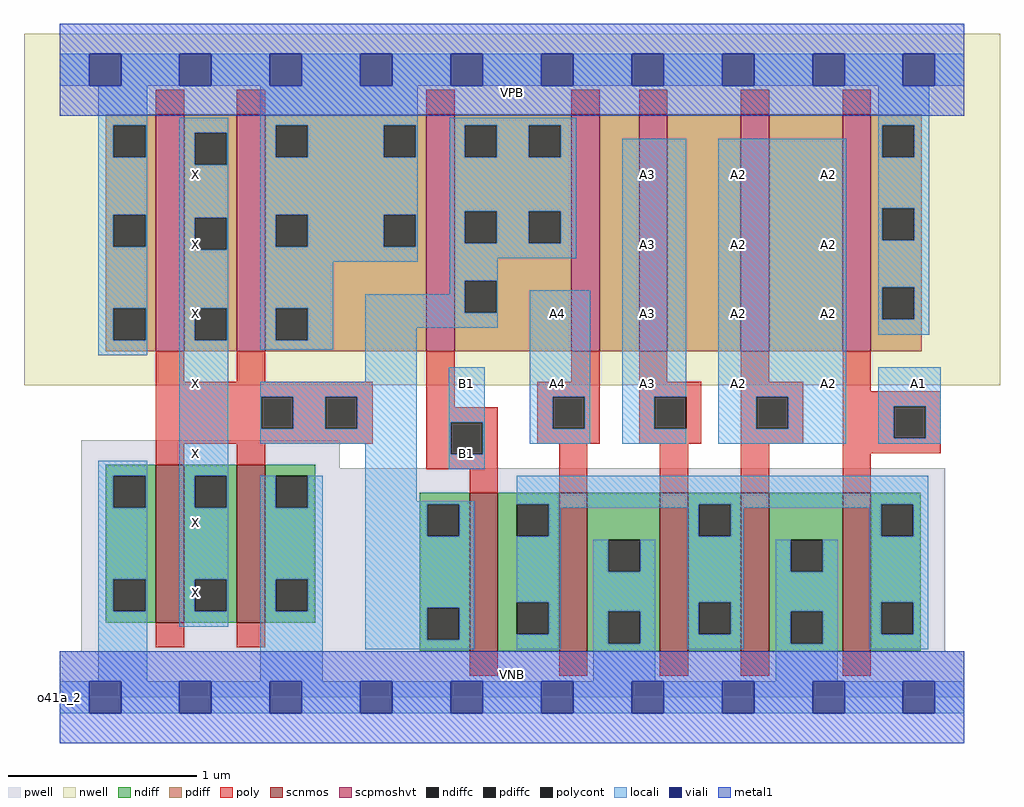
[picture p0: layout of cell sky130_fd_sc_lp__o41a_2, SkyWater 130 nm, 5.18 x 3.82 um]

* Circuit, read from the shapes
.subckt sky130_fd_sc_lp__o41a_2 A1 A2 A3 A4 B1 VGND VNB VPB VPWR X
XM1 X n1 VGND VNB sky130_fd_pr__nfet_01v8 w=0.84 l=0.15 m=2
XM2 n2 B1 n1 VNB sky130_fd_pr__nfet_01v8 w=0.84 l=0.15
XM3 VGND A4 n2 VNB sky130_fd_pr__nfet_01v8 w=0.84 l=0.15
XM4 n2 A3 VGND VNB sky130_fd_pr__nfet_01v8 w=0.84 l=0.15
XM5 VGND A2 n2 VNB sky130_fd_pr__nfet_01v8 w=0.84 l=0.15
XM6 n2 A1 VGND VNB sky130_fd_pr__nfet_01v8 w=0.84 l=0.15
XM7 X n1 VPWR VPB sky130_fd_pr__pfet_01v8_hvt w=1.26 l=0.15 m=2
XM8 n1 B1 VPWR VPB sky130_fd_pr__pfet_01v8_hvt w=1.26 l=0.15
XM9 n3 A4 n1 VPB sky130_fd_pr__pfet_01v8_hvt w=1.26 l=0.15
XM10 n4 A3 n3 VPB sky130_fd_pr__pfet_01v8_hvt w=1.26 l=0.15
XM11 n5 A2 n4 VPB sky130_fd_pr__pfet_01v8_hvt w=1.26 l=0.15
XM12 VPWR A1 n5 VPB sky130_fd_pr__pfet_01v8_hvt w=1.26 l=0.15
.ends

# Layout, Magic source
magic
tech sky130A
magscale 1 2
<< nwell >>
rect -38 331 998 704
<< pwell >>
rect 23 243 297 273
rect 23 49 940 243
rect 0 0 960 49
<< scnmos >>
rect 102 79 132 247
rect 188 79 218 247
rect 435 49 465 217
rect 530 49 560 217
rect 637 49 667 217
rect 723 49 753 217
rect 831 49 861 217
<< scpmoshvt >>
rect 102 367 132 619
rect 188 367 218 619
rect 389 367 419 619
rect 543 367 573 619
rect 615 367 645 619
rect 723 367 753 619
rect 831 367 861 619
<< ndiff >>
rect 49 235 102 247
rect 49 201 57 235
rect 91 201 102 235
rect 49 125 102 201
rect 49 91 57 125
rect 91 91 102 125
rect 49 79 102 91
rect 132 235 188 247
rect 132 201 143 235
rect 177 201 188 235
rect 132 125 188 201
rect 132 91 143 125
rect 177 91 188 125
rect 132 79 188 91
rect 218 235 271 247
rect 218 201 229 235
rect 263 201 271 235
rect 218 125 271 201
rect 218 91 229 125
rect 263 91 271 125
rect 218 79 271 91
rect 382 205 435 217
rect 382 171 390 205
rect 424 171 435 205
rect 382 95 435 171
rect 382 61 390 95
rect 424 61 435 95
rect 382 49 435 61
rect 465 205 530 217
rect 465 171 485 205
rect 519 171 530 205
rect 465 101 530 171
rect 465 67 485 101
rect 519 67 530 101
rect 465 49 530 67
rect 560 167 637 217
rect 560 133 582 167
rect 616 133 637 167
rect 560 91 637 133
rect 560 57 582 91
rect 616 57 637 91
rect 560 49 637 57
rect 667 205 723 217
rect 667 171 678 205
rect 712 171 723 205
rect 667 101 723 171
rect 667 67 678 101
rect 712 67 723 101
rect 667 49 723 67
rect 753 167 831 217
rect 753 133 776 167
rect 810 133 831 167
rect 753 91 831 133
rect 753 57 776 91
rect 810 57 831 91
rect 753 49 831 57
rect 861 205 914 217
rect 861 171 872 205
rect 906 171 914 205
rect 861 101 914 171
rect 861 67 872 101
rect 906 67 914 101
rect 861 49 914 67
<< pdiff >>
rect 49 607 102 619
rect 49 573 57 607
rect 91 573 102 607
rect 49 512 102 573
rect 49 478 57 512
rect 91 478 102 512
rect 49 413 102 478
rect 49 379 57 413
rect 91 379 102 413
rect 49 367 102 379
rect 132 599 188 619
rect 132 565 143 599
rect 177 565 188 599
rect 132 509 188 565
rect 132 475 143 509
rect 177 475 188 509
rect 132 413 188 475
rect 132 379 143 413
rect 177 379 188 413
rect 132 367 188 379
rect 218 607 389 619
rect 218 573 229 607
rect 263 573 344 607
rect 378 573 389 607
rect 218 512 389 573
rect 218 478 229 512
rect 263 478 344 512
rect 378 478 389 512
rect 218 413 389 478
rect 218 379 229 413
rect 263 379 389 413
rect 218 367 389 379
rect 419 607 543 619
rect 419 573 430 607
rect 464 573 498 607
rect 532 573 543 607
rect 419 516 543 573
rect 419 482 430 516
rect 464 482 498 516
rect 532 482 543 516
rect 419 442 543 482
rect 419 408 430 442
rect 464 408 543 442
rect 419 367 543 408
rect 573 367 615 619
rect 645 367 723 619
rect 753 367 831 619
rect 861 607 915 619
rect 861 573 873 607
rect 907 573 915 607
rect 861 519 915 573
rect 861 485 873 519
rect 907 485 915 519
rect 861 435 915 485
rect 861 401 873 435
rect 907 401 915 435
rect 861 367 915 401
<< ndiffc >>
rect 57 201 91 235
rect 57 91 91 125
rect 143 201 177 235
rect 143 91 177 125
rect 229 201 263 235
rect 229 91 263 125
rect 390 171 424 205
rect 390 61 424 95
rect 485 171 519 205
rect 485 67 519 101
rect 582 133 616 167
rect 582 57 616 91
rect 678 171 712 205
rect 678 67 712 101
rect 776 133 810 167
rect 776 57 810 91
rect 872 171 906 205
rect 872 67 906 101
<< pdiffc >>
rect 57 573 91 607
rect 57 478 91 512
rect 57 379 91 413
rect 143 565 177 599
rect 143 475 177 509
rect 143 379 177 413
rect 229 573 263 607
rect 344 573 378 607
rect 229 478 263 512
rect 344 478 378 512
rect 229 379 263 413
rect 430 573 464 607
rect 498 573 532 607
rect 430 482 464 516
rect 498 482 532 516
rect 430 408 464 442
rect 873 573 907 607
rect 873 485 907 519
rect 873 401 907 435
<< poly >>
rect 102 619 132 645
rect 188 619 218 645
rect 389 619 419 645
rect 543 619 573 645
rect 615 619 645 645
rect 723 619 753 645
rect 831 619 861 645
rect 102 335 132 367
rect 188 335 218 367
rect 102 319 332 335
rect 102 285 214 319
rect 248 285 282 319
rect 316 285 332 319
rect 102 269 332 285
rect 389 308 419 367
rect 543 335 573 367
rect 507 319 573 335
rect 389 292 465 308
rect 102 247 132 269
rect 188 247 218 269
rect 389 258 415 292
rect 449 258 465 292
rect 507 285 523 319
rect 557 285 573 319
rect 507 269 573 285
rect 615 335 645 367
rect 723 335 753 367
rect 615 319 681 335
rect 615 285 631 319
rect 665 285 681 319
rect 615 269 681 285
rect 723 319 789 335
rect 723 285 739 319
rect 773 285 789 319
rect 723 269 789 285
rect 831 325 861 367
rect 831 309 935 325
rect 831 275 885 309
rect 919 275 935 309
rect 389 242 465 258
rect 435 217 465 242
rect 530 217 560 269
rect 637 217 667 269
rect 723 217 753 269
rect 831 259 935 275
rect 831 217 861 259
rect 102 53 132 79
rect 188 53 218 79
rect 435 23 465 49
rect 530 23 560 49
rect 637 23 667 49
rect 723 23 753 49
rect 831 23 861 49
<< polycont >>
rect 214 285 248 319
rect 282 285 316 319
rect 415 258 449 292
rect 523 285 557 319
rect 631 285 665 319
rect 739 285 773 319
rect 885 275 919 309
<< locali >>
rect 0 649 31 683
rect 65 649 127 683
rect 161 649 223 683
rect 257 649 319 683
rect 353 649 415 683
rect 449 649 511 683
rect 545 649 607 683
rect 641 649 703 683
rect 737 649 799 683
rect 833 649 895 683
rect 929 649 960 683
rect 41 607 93 649
rect 41 573 57 607
rect 91 573 93 607
rect 41 512 93 573
rect 41 478 57 512
rect 91 478 93 512
rect 41 413 93 478
rect 41 379 57 413
rect 91 379 93 413
rect 41 363 93 379
rect 127 599 179 615
rect 127 565 143 599
rect 177 565 179 599
rect 127 509 179 565
rect 127 475 143 509
rect 177 475 179 509
rect 127 413 179 475
rect 127 379 143 413
rect 177 379 179 413
rect 41 235 93 251
rect 41 201 57 235
rect 91 201 93 235
rect 41 125 93 201
rect 41 91 57 125
rect 91 91 93 125
rect 41 17 93 91
rect 127 235 179 379
rect 213 607 380 649
rect 213 573 229 607
rect 263 573 344 607
rect 378 573 380 607
rect 213 512 380 573
rect 213 478 229 512
rect 263 478 344 512
rect 378 478 380 512
rect 213 462 380 478
rect 414 607 548 615
rect 414 573 430 607
rect 464 573 498 607
rect 532 573 548 607
rect 869 607 923 649
rect 414 516 548 573
rect 414 482 430 516
rect 464 482 498 516
rect 532 482 548 516
rect 414 466 548 482
rect 213 413 290 462
rect 414 442 465 466
rect 414 428 430 442
rect 213 379 229 413
rect 263 379 290 413
rect 213 369 290 379
rect 324 408 430 428
rect 464 408 465 442
rect 324 392 465 408
rect 324 335 379 392
rect 213 319 379 335
rect 213 285 214 319
rect 248 285 282 319
rect 316 285 379 319
rect 213 269 379 285
rect 127 201 143 235
rect 177 201 179 235
rect 127 125 179 201
rect 127 91 143 125
rect 177 91 179 125
rect 127 75 179 91
rect 213 201 229 235
rect 263 201 279 235
rect 213 125 279 201
rect 213 91 229 125
rect 263 91 279 125
rect 213 17 279 91
rect 324 208 379 269
rect 413 292 451 350
rect 413 258 415 292
rect 449 258 451 292
rect 499 319 563 432
rect 499 285 523 319
rect 557 285 563 319
rect 499 269 563 285
rect 597 319 665 593
rect 597 285 631 319
rect 597 269 665 285
rect 699 319 835 593
rect 869 573 873 607
rect 907 573 923 607
rect 869 519 923 573
rect 869 485 873 519
rect 907 485 923 519
rect 869 435 923 485
rect 869 401 873 435
rect 907 401 923 435
rect 869 385 923 401
rect 699 285 739 319
rect 773 285 835 319
rect 699 269 835 285
rect 869 309 935 350
rect 869 275 885 309
rect 919 275 935 309
rect 869 269 935 275
rect 413 242 451 258
rect 324 205 440 208
rect 324 171 390 205
rect 424 171 440 205
rect 324 95 440 171
rect 324 61 390 95
rect 424 61 440 95
rect 324 51 440 61
rect 485 205 922 235
rect 519 201 678 205
rect 519 171 532 201
rect 485 101 532 171
rect 666 171 678 201
rect 712 201 872 205
rect 712 171 726 201
rect 519 67 532 101
rect 485 51 532 67
rect 566 133 582 167
rect 616 133 632 167
rect 566 91 632 133
rect 566 57 582 91
rect 616 57 632 91
rect 566 17 632 57
rect 666 101 726 171
rect 860 171 872 201
rect 906 171 922 205
rect 666 67 678 101
rect 712 67 726 101
rect 666 51 726 67
rect 760 133 776 167
rect 810 133 826 167
rect 760 91 826 133
rect 760 57 776 91
rect 810 57 826 91
rect 760 17 826 57
rect 860 101 922 171
rect 860 67 872 101
rect 906 67 922 101
rect 860 51 922 67
rect 0 -17 31 17
rect 65 -17 127 17
rect 161 -17 223 17
rect 257 -17 319 17
rect 353 -17 415 17
rect 449 -17 511 17
rect 545 -17 607 17
rect 641 -17 703 17
rect 737 -17 799 17
rect 833 -17 895 17
rect 929 -17 960 17
<< viali >>
rect 31 649 65 683
rect 127 649 161 683
rect 223 649 257 683
rect 319 649 353 683
rect 415 649 449 683
rect 511 649 545 683
rect 607 649 641 683
rect 703 649 737 683
rect 799 649 833 683
rect 895 649 929 683
rect 31 -17 65 17
rect 127 -17 161 17
rect 223 -17 257 17
rect 319 -17 353 17
rect 415 -17 449 17
rect 511 -17 545 17
rect 607 -17 641 17
rect 703 -17 737 17
rect 799 -17 833 17
rect 895 -17 929 17
<< metal1 >>
rect 0 683 960 715
rect 0 649 31 683
rect 65 649 127 683
rect 161 649 223 683
rect 257 649 319 683
rect 353 649 415 683
rect 449 649 511 683
rect 545 649 607 683
rect 641 649 703 683
rect 737 649 799 683
rect 833 649 895 683
rect 929 649 960 683
rect 0 617 960 649
rect 0 17 960 49
rect 0 -17 31 17
rect 65 -17 127 17
rect 161 -17 223 17
rect 257 -17 319 17
rect 353 -17 415 17
rect 449 -17 511 17
rect 545 -17 607 17
rect 641 -17 703 17
rect 737 -17 799 17
rect 833 -17 895 17
rect 929 -17 960 17
rect 0 -49 960 -17
<< labels >>
flabel pwell s 0 0 960 49 0 FreeSans 200 0 0 0 VNB
port 7 nsew ground bidirectional
flabel nwell s 0 617 960 666 0 FreeSans 200 0 0 0 VPB
port 8 nsew power bidirectional
rlabel comment s 0 0 0 0 4 o41a_2
flabel metal1 s 0 617 960 666 0 FreeSans 340 0 0 0 VPWR
port 9 nsew power bidirectional
flabel metal1 s 0 0 960 49 0 FreeSans 340 0 0 0 VGND
port 6 nsew ground bidirectional
flabel locali s 127 94 161 128 0 FreeSans 340 0 0 0 X
port 10 nsew signal output
flabel locali s 127 168 161 202 0 FreeSans 340 0 0 0 X
port 10 nsew signal output
flabel locali s 127 242 161 276 0 FreeSans 340 0 0 0 X
port 10 nsew signal output
flabel locali s 127 316 161 350 0 FreeSans 340 0 0 0 X
port 10 nsew signal output
flabel locali s 127 390 161 424 0 FreeSans 340 0 0 0 X
port 10 nsew signal output
flabel locali s 127 464 161 498 0 FreeSans 340 0 0 0 X
port 10 nsew signal output
flabel locali s 127 538 161 572 0 FreeSans 340 0 0 0 X
port 10 nsew signal output
flabel locali s 895 316 929 350 0 FreeSans 340 0 0 0 A1
port 1 nsew signal input
flabel locali s 703 316 737 350 0 FreeSans 340 0 0 0 A2
port 2 nsew signal input
flabel locali s 703 390 737 424 0 FreeSans 340 0 0 0 A2
port 2 nsew signal input
flabel locali s 703 464 737 498 0 FreeSans 340 0 0 0 A2
port 2 nsew signal input
flabel locali s 703 538 737 572 0 FreeSans 340 0 0 0 A2
port 2 nsew signal input
flabel locali s 799 316 833 350 0 FreeSans 340 0 0 0 A2
port 2 nsew signal input
flabel locali s 799 390 833 424 0 FreeSans 340 0 0 0 A2
port 2 nsew signal input
flabel locali s 799 464 833 498 0 FreeSans 340 0 0 0 A2
port 2 nsew signal input
flabel locali s 799 538 833 572 0 FreeSans 340 0 0 0 A2
port 2 nsew signal input
flabel locali s 607 316 641 350 0 FreeSans 340 0 0 0 A3
port 3 nsew signal input
flabel locali s 607 390 641 424 0 FreeSans 340 0 0 0 A3
port 3 nsew signal input
flabel locali s 607 464 641 498 0 FreeSans 340 0 0 0 A3
port 3 nsew signal input
flabel locali s 607 538 641 572 0 FreeSans 340 0 0 0 A3
port 3 nsew signal input
flabel locali s 511 316 545 350 0 FreeSans 340 0 0 0 A4
port 4 nsew signal input
flabel locali s 415 242 449 276 0 FreeSans 340 0 0 0 B1
port 5 nsew signal input
flabel locali s 415 316 449 350 0 FreeSans 340 0 0 0 B1
port 5 nsew signal input
flabel locali s 511 390 545 424 0 FreeSans 340 0 0 0 A4
port 4 nsew signal input
<< properties >>
string LEFsite unit
string LEFclass CORE
string FIXED_BBOX 0 0 960 666
string GDS_FILE $PDKPATH/libs.ref/sky130_fd_sc_lp/gds/sky130_fd_sc_lp.gds
string LEFsymmetry X Y R90
string GDS_END 512076
string GDS_START 501776
<< end >>
